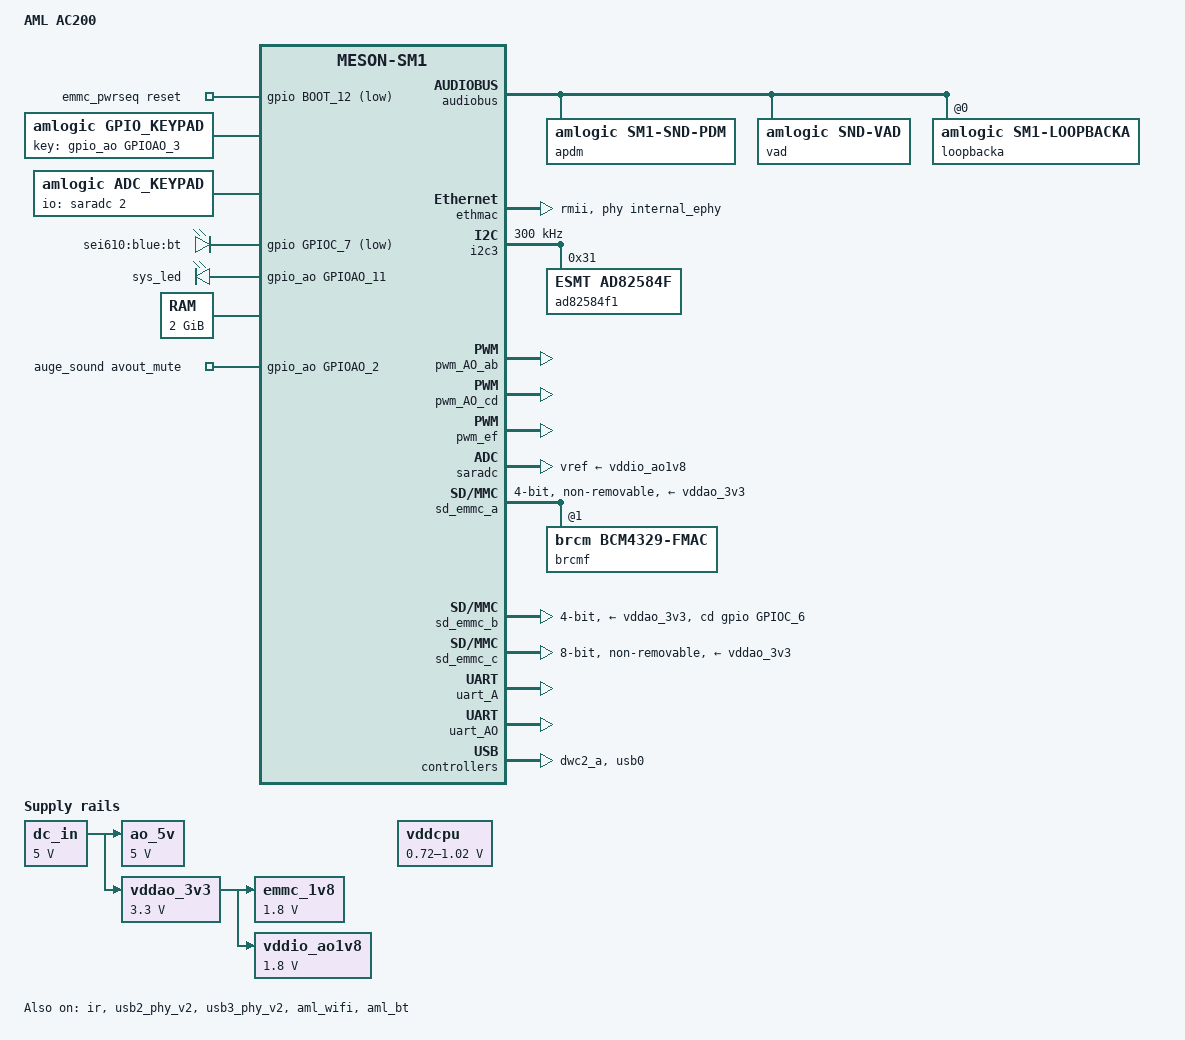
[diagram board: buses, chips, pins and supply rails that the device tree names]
// SPDX-License-Identifier: (GPL-2.0+ OR MIT)
/*
 * Copyright (c) 2019 BayLibre SAS. All rights reserved.
 */

/dts-v1/;

#include "meson-sm1.dtsi"
#include "partition_normal_linux.dtsi"
#include <dt-bindings/gpio/gpio.h>
#include <dt-bindings/input/input.h>
#include <dt-bindings/gpio/meson-g12a-gpio.h>
#include "mesonsm1_skt-panel.dtsi"

/ {
	compatible = "amlogic,sm1";
	model = "AML AC200";

	aliases {
		serial0 = &uart_AO;
		serial1 = &uart_A;
		serial2 = &uart_B;
		serial3 = &uart_C;
		serial4 = &uart_AO_B;
		ethernet0 = &ethmac;
		tsensor0 = &p_tsensor;
		tsensor1 = &d_tsensor;
		i2c0 = &i2c0;
		i2c1 = &i2c1;
		i2c2 = &i2c2;
		i2c3 = &i2c3;
		i2c4 = &i2c_AO;
		spi1 = &spicc0;
		spi2 = &spicc1;
	};

	chosen {
		stdout-path = "serial0:115200n8";
	};

	emmc_pwrseq: emmc-pwrseq {
		compatible = "mmc-pwrseq-emmc";
		reset-gpios = <&gpio BOOT_12 GPIO_ACTIVE_LOW>;
	};

	gpio_keypad{
		compatible = "amlogic, gpio_keypad";
		status = "okay";
		scan_period = <20>;
		key_num = <1>;
		key_name = "power";
		key_code = <116>;
		key-gpios = <&gpio_ao  GPIOAO_3  GPIO_ACTIVE_HIGH>;
		detect_mode = <0>;/*0:polling mode, 1:irq mode*/
	};

	adc_keypad {
		compatible = "amlogic, adc_keypad";
		status = "okay";
		key_name = "vol-", "vol+", "enter";
		key_num = <3>;
		io-channels = <&saradc 2>;
		io-channel-names = "key-chan-2";
		key_chan = <2 2 2>;
		key_code = <114 115 28>;
		key_val = <143 266 389>; //val=voltage/1800mV*1023
		key_tolerance = <40 40 40>;
	};

	leds {
		compatible = "gpio-leds";

		bluetooth {
			label = "sei610:blue:bt";
			gpios = <&gpio GPIOC_7 (GPIO_ACTIVE_LOW | GPIO_OPEN_DRAIN)>;
			default-state = "off";
		};

		sys_led {
			label = "sys_led";
			gpios = <&gpio_ao GPIOAO_11 GPIO_ACTIVE_HIGH>;
			default-state = "on";
		};
	};

	pwmleds {
		compatible = "pwm-leds";
		status = "disabled";

		power {
			label = "sei610:red:power";
			pwms = <&pwm_AO_ab 0 30518 0>;
			max-brightness = <255>;
			linux,default-trigger = "default-on";
			active-low;
		};
	};

	memory@0 {
		device_type = "memory";
		reg = <0x0 0x0 0x0 0x80000000>;
	};

	ao_5v: regulator-ao_5v {
		compatible = "regulator-fixed";
		regulator-name = "AO_5V";
		regulator-min-microvolt = <5000000>;
		regulator-max-microvolt = <5000000>;
		vin-supply = <&dc_in>;
		regulator-always-on;
	};

	dc_in: regulator-dc_in {
		compatible = "regulator-fixed";
		regulator-name = "DC_IN";
		regulator-min-microvolt = <5000000>;
		regulator-max-microvolt = <5000000>;
		regulator-always-on;
	};

	emmc_1v8: regulator-emmc_1v8 {
		compatible = "regulator-fixed";
		regulator-name = "EMMC_1V8";
		regulator-min-microvolt = <1800000>;
		regulator-max-microvolt = <1800000>;
		vin-supply = <&vddao_3v3>;
		regulator-always-on;
	};

	vddao_3v3: regulator-vddao_3v3 {
		compatible = "regulator-fixed";
		regulator-name = "VDDAO_3V3";
		regulator-min-microvolt = <3300000>;
		regulator-max-microvolt = <3300000>;
		vin-supply = <&dc_in>;
		regulator-always-on;
	};

	vddio_ao1v8: regulator-vddio_ao1v8 {
		compatible = "regulator-fixed";
		regulator-name = "VDDIO_AO1V8";
		regulator-min-microvolt = <1800000>;
		regulator-max-microvolt = <1800000>;
		vin-supply = <&vddao_3v3>;
		regulator-always-on;
	};

	reserved-memory {
		secmon_reserved:linux,secmon {
			compatible = "shared-dma-pool";
			reusable;
			size = <0x0 0x400000>;
			alignment = <0x0 0x400000>;
			alloc-ranges = <0x0 0x05000000 0x0 0x400000>;
		};

		secos_reserved:linux,secos {
			status = "disable";
			compatible = "amlogic, aml_secos_memory";
			reg = <0x0 0x05300000 0x0 0x2000000>;
			no-map;
		};

		logo_reserved:linux,meson-fb {
			compatible = "shared-dma-pool";
			reusable;
			size = <0x0 0x0>;
			alignment = <0x0 0x400000>;
			alloc-ranges = <0x0 0x3f800000 0x0 0x800000>;
		};

		ion_cma_reserved:linux,ion-dev {
			compatible = "shared-dma-pool";
			reusable;
			size = <0x0 0x0>;
			alignment = <0x0 0x400000>;
		};
		ion_fb_reserved:linux,ion-fb {
			compatible = "shared-dma-pool";
			reusable;
			/* 1920x1080x4x3 round up 4M align */
			size = <0x0 0x0>;
			alignment = <0x0 0x400000>;
		};
	};

	auge_sound {
		compatible = "amlogic, auge-sound-card";
		aml-audio-card,name = "AML-AUGESOUND";

		/* avout mute gpio */
		avout_mute-gpios = <&gpio_ao GPIOAO_2 GPIO_ACTIVE_HIGH>;

		aml-audio-card,dai-link@0 {
			format = "dsp_a";
			mclk-fs = <512>;
			//continuous-clock;
			//bitclock-inversion;
			//frame-inversion;
			/* master mode */
			bitclock-master = <&tdma>;
			frame-master = <&tdma>;
			/* slave mode */
			/*
			 * bitclock-master = <&tdmacodec>;
			 * frame-master = <&tdmacodec>;
			 */
			suffix-name = "alsaPORT-pcm";
			tdmacpu: cpu {
				sound-dai = <&tdma>;
				dai-tdm-slot-tx-mask =
							<1 1 1 1 1 1 1 1>;
				dai-tdm-slot-rx-mask =
							<1 1 1 1 1 1 1 1>;
				dai-tdm-slot-num = <8>;
				dai-tdm-slot-width = <32>;
				system-clock-frequency = <24576000>;
			};
			tdmacodec: codec {
				sound-dai = <&dummy_codec &dummy_codec>;
			};
		};

		aml-audio-card,dai-link@1 {
			format = "i2s";// "dsp_a";
			mclk-fs = <256>;
			//continuous-clock;
			//bitclock-inversion;
			//frame-inversion;
			/* master mode */
			bitclock-master = <&tdmb>;
			frame-master = <&tdmb>;
			/* slave mode */
			//bitclock-master = <&tdmbcodec>;
			//frame-master = <&tdmbcodec>;
			/* suffix-name, sync with android audio hal
			 * what's the dai link used for
			 */
			suffix-name = "alsaPORT-i2s";
			cpu {
				sound-dai = <&tdmb>;
				dai-tdm-slot-tx-mask = <1 1>;
				dai-tdm-slot-rx-mask = <1 1>;
				dai-tdm-slot-num = <2>;
				/*
				 * dai-tdm-slot-tx-mask =
				 *	<1 1 1 1 1 1 1 1>;
				 * dai-tdm-slot-rx-mask =
				 *	<1 1 1 1 1 1 1 1>;
				 * dai-tdm-slot-num = <8>;
				 */
				dai-tdm-slot-width = <32>;
				system-clock-frequency = <12288000>;
			};
			tdmbcodec: codec {
				sound-dai = <&ad82584f1 &amlogic_codec>;
			};
		};

		aml-audio-card,dai-link@2 {
			format = "i2s";
			mclk-fs = <256>;
			//continuous-clock;
			//bitclock-inversion;
			//frame-inversion;
			/* master mode */
			bitclock-master = <&tdmc>;
			frame-master = <&tdmc>;
			/* slave mode */
			//bitclock-master = <&tdmccodec>;
			//frame-master = <&tdmccodec>;
			/* suffix-name, sync with android audio hal used for */
			//suffix-name = "alsaPORT-tdm";
			cpu {
				sound-dai = <&tdmc>;
				dai-tdm-slot-tx-mask = <1 1>;
				dai-tdm-slot-rx-mask = <1 1>;
				dai-tdm-slot-num = <2>;
				dai-tdm-slot-width = <32>;
				system-clock-frequency = <12288000>;
			};
			tdmccodec: codec {
				sound-dai = <&dummy_codec>;
			};
		};

		aml-audio-card,dai-link@3 {
			mclk-fs = <64>;
			/* suffix-name, sync with android audio hal
			 * what's the dai link used for
			 */
			suffix-name = "alsaPORT-pdm-builtinmic";
			cpu {
				sound-dai = <&apdm>;
			};
			codec {
				sound-dai = <&dummy_codec>;
			};
		};

		aml-audio-card,dai-link@4 {
			mclk-fs = <128>;
			/* suffix-name, sync with android audio hal used for */
			suffix-name = "alsaPORT-spdif";
			cpu {
				sound-dai = <&spdifa>;
				system-clock-frequency = <6144000>;
			};
			codec {
				sound-dai = <&dummy_codec>;
			};
		};
		/* spdif_b to hdmi, only playback */
		aml-audio-card,dai-link@5 {
			mclk-fs = <128>;
			continuous-clock;
			/* suffix-name, sync with android audio hal
			 * what's the dai link used for
			 */
			suffix-name = "alsaPORT-spdifb";
			cpu {
				sound-dai = <&spdifb>;
				system-clock-frequency = <6144000>;
			};
			codec {
				sound-dai = <&dummy_codec>;
			};
		};
		aml-audio-card,dai-link@6 {
			mclk-fs = <256>;
			continuous-clock;
			suffix-name = "alsaPORT-loopback";
			cpu {
				sound-dai = <&loopbacka>;
				system-clock-frequency = <12288000>;
			};
			codec {
				sound-dai = <&dummy_codec>;
			};
		};
	};

	dolby_fw: dolby_fw {
		compatible = "amlogic, dolby_fw";
		mem_size = <0x100000>;
		status = "okay";
	};

	cpu_opp_table0: cpu_opp_table0 {
		compatible = "operating-points-v2";
		opp-shared;

		opp00 {
			opp-hz = /bits/ 64 <100000000>;
			opp-microvolt = <760000>;
		};
		opp01 {
			opp-hz = /bits/ 64 <250000000>;
			opp-microvolt = <760000>;
		};
		opp02 {
			opp-hz = /bits/ 64 <500000000>;
			opp-microvolt = <760000>;
		};
		opp03 {
			opp-hz = /bits/ 64 <667000000>;
			opp-microvolt = <780000>;
		};
		opp04 {
			opp-hz = /bits/ 64 <1000000000>;
			opp-microvolt = <800000>;
		};
		opp05 {
			opp-hz = /bits/ 64 <1200000000>;
			opp-microvolt = <810000>;
		};
		opp06 {
			opp-hz = /bits/ 64 <1404000000>;
			opp-microvolt = <820000>;
		};
		opp07 {
			opp-hz = /bits/ 64 <1500000000>;
			opp-microvolt = <830000>;
		};
		opp08 {
			opp-hz = /bits/ 64 <1608000000>;
			opp-microvolt = <860000>;
		};
		opp09 {
			opp-hz = /bits/ 64 <1704000000>;
			opp-microvolt = <900000>;
		};
		opp10 {
			opp-hz = /bits/ 64 <1800000000>;
			opp-microvolt = <940000>;
		};
		opp11 {
			opp-hz = /bits/ 64 <1908000000>;
			opp-microvolt = <1000000>;
		};
	};

	cpu_opp_table1: cpu_opp_table1 {
		compatible = "operating-points-v2";
		opp-shared;

		opp00 {
			opp-hz = /bits/ 64 <100000000>;
			opp-microvolt = <760000>;
		};
		opp01 {
			opp-hz = /bits/ 64 <250000000>;
			opp-microvolt = <760000>;
		};
		opp02 {
			opp-hz = /bits/ 64 <500000000>;
			opp-microvolt = <760000>;
		};
		opp03 {
			opp-hz = /bits/ 64 <667000000>;
			opp-microvolt = <780000>;
		};
		opp04 {
			opp-hz = /bits/ 64 <1000000000>;
			opp-microvolt = <800000>;
		};
		opp05 {
			opp-hz = /bits/ 64 <1200000000>;
			opp-microvolt = <810000>;
		};
		opp06 {
			opp-hz = /bits/ 64 <1404000000>;
			opp-microvolt = <820000>;
		};
		opp07 {
			opp-hz = /bits/ 64 <1500000000>;
			opp-microvolt = <830000>;
		};
		opp08 {
			opp-hz = /bits/ 64 <1608000000>;
			opp-microvolt = <860000>;
		};
		opp09 {
			opp-hz = /bits/ 64 <1704000000>;
			opp-microvolt = <900000>;
		};
		opp10 {
			opp-hz = /bits/ 64 <1800000000>;
			opp-microvolt = <940000>;
		};
		opp11 {
			opp-hz = /bits/ 64 <1908000000>;
			opp-microvolt = <970000>;
		};
	};

	cpu_opp_table2: cpu_opp_table2 {
		compatible = "operating-points-v2";
		opp-shared;

		opp00 {
			opp-hz = /bits/ 64 <100000000>;
			opp-microvolt = <760000>;
		};
		opp01 {
			opp-hz = /bits/ 64 <250000000>;
			opp-microvolt = <760000>;
		};
		opp02 {
			opp-hz = /bits/ 64 <500000000>;
			opp-microvolt = <760000>;
		};
		opp03 {
			opp-hz = /bits/ 64 <667000000>;
			opp-microvolt = <780000>;
		};
		opp04 {
			opp-hz = /bits/ 64 <1000000000>;
			opp-microvolt = <800000>;
		};
		opp05 {
			opp-hz = /bits/ 64 <1200000000>;
			opp-microvolt = <810000>;
		};
		opp06 {
			opp-hz = /bits/ 64 <1404000000>;
			opp-microvolt = <820000>;
		};
		opp07 {
			opp-hz = /bits/ 64 <1500000000>;
			opp-microvolt = <830000>;
		};
		opp08 {
			opp-hz = /bits/ 64 <1608000000>;
			opp-microvolt = <860000>;
		};
		opp09 {
			opp-hz = /bits/ 64 <1704000000>;
			opp-microvolt = <900000>;
		};
		opp10 {
			opp-hz = /bits/ 64 <1800000000>;
			opp-microvolt = <910000>;
		};
		opp11 {
			opp-hz = /bits/ 64 <1908000000>;
			opp-microvolt = <910000>;
		};
	};

	cpu_opp_table3: cpu_opp_table3 {
		compatible = "operating-points-v2";
		opp-shared;

		opp00 {
			opp-hz = /bits/ 64 <100000000>;
			opp-microvolt = <760000>;
		};
		opp01 {
			opp-hz = /bits/ 64 <250000000>;
			opp-microvolt = <760000>;
		};
		opp02 {
			opp-hz = /bits/ 64 <500000000>;
			opp-microvolt = <760000>;
		};
		opp03 {
			opp-hz = /bits/ 64 <667000000>;
			opp-microvolt = <780000>;
		};
		opp04 {
			opp-hz = /bits/ 64 <1000000000>;
			opp-microvolt = <800000>;
		};
		opp05 {
			opp-hz = /bits/ 64 <1200000000>;
			opp-microvolt = <810000>;
		};
		opp06 {
			opp-hz = /bits/ 64 <1404000000>;
			opp-microvolt = <820000>;
		};
		opp07 {
			opp-hz = /bits/ 64 <1500000000>;
			opp-microvolt = <830000>;
		};
		opp08 {
			opp-hz = /bits/ 64 <1608000000>;
			opp-microvolt = <860000>;
		};
		opp09 {
			opp-hz = /bits/ 64 <1704000000>;
			opp-microvolt = <860000>;
		};
		opp10 {
			opp-hz = /bits/ 64 <1800000000>;
			opp-microvolt = <860000>;
		};
		opp11 {
			opp-hz = /bits/ 64 <1908000000>;
			opp-microvolt = <860000>;
		};
	};

	cpufreq-meson {
		compatible = "amlogic, cpufreq-meson";
		status = "okay";
	};

	efuse: efuse {
		status = "okay";
	};
};

&cpu0 {
	cpu-supply = <&vddcpu>;
	/*set multi table cpufreq max*/
	multi_tables_available;
	operating-points-v2 = <&cpu_opp_table0>,
			<&cpu_opp_table1>,
			<&cpu_opp_table2>,
			<&cpu_opp_table3>;
	clocks = <&clkc CLKID_CPU_CLK>,
	       <&clkc CLKID_CPU_CLK_DYN>,
	       <&clkc CLKID_SYS_PLL>,
	       <&clkc CLKID_DSU_CLK>,
	       <&clkc CLKID_DSU_CLK_FINAL>;
	clock-names = "core_clk",
		"low_freq_clk_parent",
		"high_freq_clk_parent",
		"dsu_clk",
		"dsu_pre_parent";
	clock-latency = <50000>;
};

&cpu1 {
	cpu-supply = <&vddcpu>;
	/*set multi table cpufreq max*/
	multi_tables_available;
	operating-points-v2 = <&cpu_opp_table0>,
			<&cpu_opp_table1>,
			<&cpu_opp_table2>,
			<&cpu_opp_table3>;
	clocks = <&clkc CLKID_CPU_CLK>,
	       <&clkc CLKID_CPU_CLK_DYN>,
	       <&clkc CLKID_SYS_PLL>,
	       <&clkc CLKID_DSU_CLK>,
	       <&clkc CLKID_DSU_CLK_FINAL>;
	clock-names = "core_clk",
		"low_freq_clk_parent",
		"high_freq_clk_parent",
		"dsu_clk",
		"dsu_pre_parent";
	clock-latency = <50000>;
};

&cpu2 {
	cpu-supply = <&vddcpu>;
	/*set multi table cpufreq max*/
	multi_tables_available;
	operating-points-v2 = <&cpu_opp_table0>,
			<&cpu_opp_table1>,
			<&cpu_opp_table2>,
			<&cpu_opp_table3>;
	clocks = <&clkc CLKID_CPU_CLK>,
	       <&clkc CLKID_CPU_CLK_DYN>,
	       <&clkc CLKID_SYS_PLL>,
	       <&clkc CLKID_DSU_CLK>,
	       <&clkc CLKID_DSU_CLK_FINAL>;
	clock-names = "core_clk",
		"low_freq_clk_parent",
		"high_freq_clk_parent",
		"dsu_clk",
		"dsu_pre_parent";
	clock-latency = <50000>;
};

&cpu3 {
	cpu-supply = <&vddcpu>;
	/*set multi table cpufreq max*/
	multi_tables_available;
	operating-points-v2 = <&cpu_opp_table0>,
			<&cpu_opp_table1>,
			<&cpu_opp_table2>,
			<&cpu_opp_table3>;
	clocks = <&clkc CLKID_CPU_CLK>,
	       <&clkc CLKID_CPU_CLK_DYN>,
	       <&clkc CLKID_SYS_PLL>,
	       <&clkc CLKID_DSU_CLK>,
	       <&clkc CLKID_DSU_CLK_FINAL>;
	clock-names = "core_clk",
		"low_freq_clk_parent",
		"high_freq_clk_parent",
		"dsu_clk",
		"dsu_pre_parent";
	clock-latency = <50000>;
};

&audiobus {
	apdm: pdm {
		compatible = "amlogic, sm1-snd-pdm";
		#sound-dai-cells = <0>;

		clocks = <&clkaudio CLKID_AUDIO_GATE_PDM
			&clkc CLKID_HIFI_PLL
			&clkc CLKID_HIFI_PLL
			&clkaudio CLKID_AUDIO_PDMIN0
			&clkaudio CLKID_AUDIO_PDMIN1>;
		clock-names = "gate",
			"sysclk_srcpll",
			"dclk_srcpll",
			"pdm_dclk",
			"pdm_sysclk";

		pinctrl-names = "pdm_pins";
		pinctrl-0 = <&pdm_din0_a_pins
				&pdm_din1_a_pins
				&pdm_din2_a_pins
				&pdm_din3_a_pins
				&pdm_dclk_a_pins>;

		/* mode 0~4, defalut:1 */
		filter_mode = <1>;
		train_sample_count = <0x2>;

		status = "okay";
	};

	vad:vad {
		compatible = "amlogic, snd-vad";
		#sound-dai-cells = <0>;

		clocks = <&clkaudio CLKID_AUDIO_GATE_TOVAD
			&clkc CLKID_HIFI_PLL
			&clkaudio CLKID_AUDIO_VAD>;
		clock-names = "gate", "pll", "clk";

		interrupts = <GIC_SPI 155 IRQ_TYPE_EDGE_RISING
				GIC_SPI 48 IRQ_TYPE_EDGE_RISING>;
		interrupt-names = "irq_wakeup", "irq_frame_sync";

			/*
			 * Data src sel:
			 * 0: tdmin_a;
			 * 1: tdmin_b;
			 * 2: tdmin_c;
			 * 3: spdifin;
			 * 4: pdmin;
			 * 5: loopback_b;
			 * 6: tdmin_lb;
			 * 7: loopback_a;
			 */
		src = <4>;

			/*
			 * deal with hot word in user space or kernel space
			 * 0: in user space
			 * 1: in kernel space
			 */
		level = <1>;

		status = "okay";
	};

	loopbacka:loopback@0 {
		compatible = "amlogic, sm1-loopbacka";
		#sound-dai-cells = <0>;

		clocks = <&clkaudio CLKID_AUDIO_GATE_PDM
			&clkc CLKID_HIFI_PLL
			&clkc CLKID_HIFI_PLL
			&clkaudio CLKID_AUDIO_PDMIN0
			&clkaudio CLKID_AUDIO_PDMIN1
			&clkc CLKID_MPLL0
			&clkaudio CLKID_AUDIO_MCLK_A>;
		clock-names = "pdm_gate",
			"pdm_sysclk_srcpll",
			"pdm_dclk_srcpll",
			"pdm_dclk",
			"pdm_sysclk",
			"tdminlb_mpll",
			"tdminlb_mclk";

			/* datain src
			 * 0: tdmin_a;
			 * 1: tdmin_b;
			 * 2: tdmin_c;
			 * 3: spdifin;
			 * 4: pdmin;
			 */
		datain_src = <4>;
		datain_chnum = <6>;
		datain_chmask = <0x3f>;
		/* config which data pin for loopback */
		datain-lane-mask-in = <1 1 1 0>;

		/* calc mclk for datalb */
		mclk-fs = <256>;

			/* tdmin_lb src
			 * 0: tdmoutA
			 * 1: tdmoutB
			 * 2: tdmoutC
			 * 3: PAD_TDMINA_DIN*, refer to core pinmux
			 * 4: PAD_TDMINB_DIN*, refer to core pinmux
			 * 5: PAD_TDMINC_DIN*, refer to core pinmux
			 * 6: PAD_TDMINA_D*, oe, refer to core pinmux
			 * 7: PAD_TDMINB_D*, oe, refer to core pinmux
			 */
		/* if tdmin_lb >= 3, use external loopback */
		datalb_src = <1>;
		datalb_chnum = <2>;
		datalb_chmask = <0x3>;
		/* config which data pin as loopback */
		datalb-lane-mask-in = <1 0 0 0>;

		status = "okay";
	};
};

&vddcpu {
	pwms = <&pwm_AO_cd MESON_PWM_1 1250 0>;
	regulator-min-microvolt = <720000>;
	regulator-max-microvolt = <1020000>;
	max-duty-cycle = <1250>;
	/* Voltage Duty-Cycle */
	voltage-table = <1020000 0>,
		<1010000 4>,
		<1000000 8>,
		<990000 11>,
		<980000 14>,
		<970000 17>,
		<960000 20>,
		<950000 24>,
		<940000 27>,
		<930000 31>,
		<920000 35>,
		<910000 38>,
		<900000 42>,
		<890000 45>,
		<880000 48>,
		<870000 52>,
		<860000 56>,
		<850000 59>,
		<840000 63>,
		<830000 65>,
		<820000 67>,
		<810000 70>,
		<800000 74>,
		<790000 78>,
		<780000 80>,
		<770000 84>,
		<760000 88>,
		<750000 92>,
		<740000 95>,
		<730000 98>,
		<720000 100>;
};

/* open this comment for ext phy
 *&ext_mdio {
	external_phy: ethernet-phy@0 {
		reg = <0>;
		max-speed = <1000>;

		reset-assert-us = <10000>;
		reset-deassert-us = <30000>;
		reset-gpios = <&gpio GPIOZ_15 (GPIO_ACTIVE_LOW |
					GPIO_OPEN_DRAIN)>;

		interrupt-parent = <&gpio_intc>;
		interrupts = <26 IRQ_TYPE_LEVEL_LOW>;
	};
};
&ethmac {
	pinctrl-0 = <&eth_pins>, <&eth_rgmii_pins>;
	pinctrl-names = "default";
	status = "okay";
	phy-mode = "rgmii";
	phy-handle = <&external_phy>;
	amlogic,tx-delay-ns = <2>;
};
*/

&ethmac {
	status = "okay";
	phy-handle = <&internal_ephy>;
	phy-mode = "rmii";
};

&fb {
	status = "disabled";
	display_size_default = <1920 1080 1920 2160 32>;
	mem_size = <0x00800000 0x1980000 0x100000 0x100000 0x800000>;
	logo_addr = "0x3f800000";
	mem_alloc = <0>;
	pxp_mode = <0>; /** 0:normal mode 1:pxp mode */
};

&i2c3 {
	status = "okay";
	pinctrl-0 = <&i2c3_sda_a_pins>, <&i2c3_sck_a_pins>;
	pinctrl-names = "default";
	clock-frequency = <300000>; /* default 100k */

	ad82584f1: ad82584f@31 {
		compatible = "ESMT, ad82584f";
		#sound-dai-cells = <0>;
		reg = <0x31>;
		status = "okay";
		no_mclk;
	};


};

&ir {
	status = "okay";
	pinctrl-0 = <&remote_input_ao_pins>;
	pinctrl-names = "default";
};

&pwm_AO_ab {
	status = "okay";
};

&pwm_AO_cd {
	pinctrl-0 = <&pwm_ao_d_e_pins>;
	pinctrl-names = "default";
	status = "okay";
};

&pwm_ef {
	pinctrl-0 = <&pwm_e_pins>;
	pinctrl-names = "default";
	status = "okay";
};

&saradc {
	status = "okay";
	vref-supply = <&vddio_ao1v8>;
};

/* SDIO */
&sd_emmc_a {
	status = "okay";
	pinctrl-0 = <&sdio_pins>;
	pinctrl-1 = <&sdio_clk_gate_pins>;
	pinctrl-names = "default", "clk-gate";
	#address-cells = <1>;
	#size-cells = <0>;

	bus-width = <4>;
	cap-sd-highspeed;
	sd-uhs-sdr50;
	sd-uhs-sdr104;
	max-frequency = <200000000>;

	non-removable;
	disable-wp;

	vmmc-supply = <&vddao_3v3>;
	vqmmc-supply = <&vddio_ao1v8>;

	brcmf: wifi@1 {
		reg = <1>;
		compatible = "brcm,bcm4329-fmac";
	};
};

/* SD card */
&sd_emmc_b {
	status = "okay";
	pinctrl-0 = <&sdcard_c_pins>;
	pinctrl-1 = <&sdcard_clk_gate_c_pins>;
	pinctrl-2 = <&sd_1bit_pins>;
	pinctrl-3 = <&sd_to_ao_uart_clr_pins
		&sdcard_clk_gate_c_pins &ao_to_sd_uart_pins>;
	pinctrl-4 = <&sd_to_ao_uart_clr_pins
		&sd_1bit_pins &ao_to_sd_uart_pins>;
	pinctrl-5 = <&sdcard_c_pins &uart_ao_a_pins>;
	pinctrl-6 = <&sd_to_ao_uart_clr_pins
		&ao_to_sd_uart_pins>;
	pinctrl-7 = <&sdcard_c_pins &uart_ao_a_pins>;
	pinctrl-8 = <&sd_to_ao_uart_clr_pins
		&ao_to_sd_uart_pins>;
	pinctrl-names = "sd_default",
			"clk-gate",
			"sd_1bit_pins",
			"sd_clk_cmd_uart_pins",
			"sd_1bit_uart_pins",
			"sd_to_ao_uart_pins",
			"ao_to_sd_uart_pins",
			"sd_to_ao_jtag_pins",
			"ao_to_sd_jtag_pins";
	bus-width = <4>;
	cap-sd-highspeed;
//	sd-uhs-sdr12;
//	sd-uhs-sdr25;
//	sd-uhs-sdr50;
//	sd-uhs-sdr104;
	max-frequency = <200000000>;
	disable-wp;

	cd-gpios = <&gpio GPIOC_6 GPIO_ACTIVE_HIGH>;
	dat1-gpios = <&gpio GPIOC_1 GPIO_ACTIVE_HIGH>;
	vmmc-supply = <&vddao_3v3>;
	vqmmc-supply = <&emmc_1v8>;
};

/* eMMC */
&sd_emmc_c {
	status = "okay";
	pinctrl-0 = <&emmc_pins>, <&emmc_ds_pins>;
	pinctrl-1 = <&emmc_clk_gate_pins>;
	pinctrl-names = "default", "clk-gate";

	bus-width = <8>;
	cap-mmc-highspeed;
	//mmc-ddr-1_8v;
	mmc-hs200-1_8v;
	mmc-hs400-1_8v;
	max-frequency = <200000000>;
	non-removable;
	disable-wp;

	mmc-pwrseq = <&emmc_pwrseq>;
	vmmc-supply = <&vddao_3v3>;
	vqmmc-supply = <&emmc_1v8>;
};

&emmc_pwrseq {
	status = "okay";
};

&mtd_nand {
	status = "disabled";
	#address-cells = <1>;
	#size-cells = <0>;

	pinctrl-names = "nand_norb_mod","nand_cs_only";
	pinctrl-0 = <&all_nand_pins>;
	pinctrl-1 = <&nand_cs_pins>;
	bl_mode = <1>;
	fip_copies = <4>;
	fip_size = <0x200000>;
	ship_bad_block = <1>;
	nand@bootloader {
		reg = <0>;
		#address-cells = <1>;
		#size-cells = <1>;

		nand-ecc-maximize;
		partition@0 {
			label = "bootloader";
			reg = <0x0 0x00000000>;
		};
	};
	nand@normal {
		reg = <0>;
		#address-cells = <1>;
		#size-cells = <1>;

		nand-ecc-maximize;

		partition@0 {
			label = "tpl";
			reg = <0x0 0x00000000>;
		};
		partition@1 {
			label = "logo";
			reg = <0x0 0x00200000>;
		};
		partition@2 {
			label = "recovery";
			reg = <0x0 0x1000000>;
		};
		partition@3 {
			label = "boot";
			reg = <0x0 0x0F00000>;
		};
		partition@4 {
			label = "system";
			reg = <0x0 0x11800000>;
		};
		partition@5 {
			label = "data";
			reg = <0x0 0xffffffff>;
		};
	};
};

&uart_A {
	status = "okay";
	pinctrl-0 = <&uart_a_pins>, <&uart_a_cts_rts_pins>;
	pinctrl-names = "default";
	uart-has-rtscts;

	//bluetooth {
	//	compatible = "brcm,bcm43438-bt";
	//	shutdown-gpios = <&gpio GPIOX_17 GPIO_ACTIVE_HIGH>;
	//	max-speed = <2000000>;
	//	clocks = <&wifi32k>;
	//	clock-names = "lpo";
	//	vbat-supply = <&vddao_3v3>;
	//	vddio-supply = <&vddio_ao1v8>;
	//};
};

/* Exposed via the on-board USB to Serial FT232RL IC */
&uart_AO {
	status = "okay";
//	pinctrl-0 = <&uart_ao_a_pins>;
//	pinctrl-names = "default";
};

&dwc2_a {
	status = "okay";
	/** 0: normal, 1: otg+dwc3 host only, 2: otg+dwc3 device only*/
	controller-type = <1>;
};

&usb0 {
	status = "okay";
};

&usb2_phy_v2 {
	status = "okay";
	portnum = <2>;
};

&usb3_phy_v2 {
	status = "okay";
	portnum = <1>;
	otg = <0>;
};

&aml_wifi{
	status = "okay";
	interrupt-gpios = <&gpio  GPIOX_7  GPIO_ACTIVE_HIGH>;
	power_on-gpios = <&gpio   GPIOX_6  GPIO_ACTIVE_HIGH>;
};

&aml_bt {
	status = "okay";
	reset-gpios = <&gpio    GPIOX_17 GPIO_ACTIVE_HIGH>;
	hostwake-gpios = <&gpio GPIOX_19 GPIO_ACTIVE_HIGH>;
};

&pcie {
	status = "disabled";
	reset-gpio = <&gpio GPIOX_7 GPIO_ACTIVE_HIGH>;
};

&spicc0 {
	status = "disabled";
	pinctrl-names = "default";
	pinctrl-0 = <&spicc0_pins_x>;
	cs-gpios = <&gpio GPIOX_10 0>;
};

&spicc1 {
	status = "disabled";
	pinctrl-names = "default";
	pinctrl-0 = <&spicc1_pins>;
	cs-gpios = <&gpio GPIOH_6 0>;
};

&ao_pinctrl {
	dvb_s_ts0_pins: dvb_s_ts0_pins {
		tsin_a {
			groups =  "tsin_ao_asop",
				"tsin_ao_a_valid",
				"tsin_ao_aclk",
				"tsin_ao_adin0";
			function = "tsin_ao_a";
		};
	};
};
